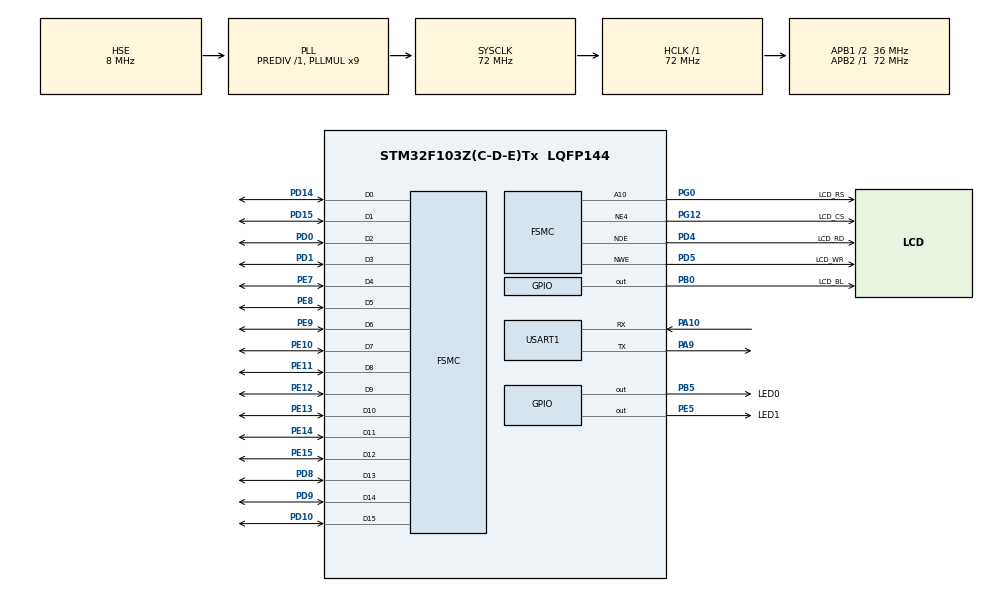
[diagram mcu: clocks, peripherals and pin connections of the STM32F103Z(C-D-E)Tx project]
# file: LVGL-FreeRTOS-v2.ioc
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FREERTOS.Tasks01=defaultTask,24,128,StartDefaultTask,Default,NULL,Dynamic,NULL,NULL
FSMC.AddressSetupTime1=0x1
FSMC.BusTurnAroundDuration1=0
FSMC.DataSetupTime1=0x1
FSMC.ExtendedAddressSetupTime1=0x00
FSMC.ExtendedBusTurnAroundDuration1=0
FSMC.ExtendedDataSetupTime1=0x3
FSMC.ExtendedMode1=FSMC_EXTENDED_MODE_ENABLE
Mcu.Family=STM32F1
Mcu.Name=STM32F103Z(C-D-E)Tx
Mcu.Package=LQFP144
NVIC.PriorityGroup=NVIC_PRIORITYGROUP_4
NVIC.TIM4_IRQn=true\:15\:0\:false\:false\:true\:false\:false\:true\:true
NVIC.TimeBase=TIM4_IRQn
NVIC.TimeBaseIP=TIM4
NVIC.USART1_IRQn=true\:5\:0\:false\:false\:true\:true\:true\:true\:true
OSC_IN.Mode=HSE-External-Oscillator
OSC_IN.Signal=RCC_OSC_IN
OSC_OUT.Mode=HSE-External-Oscillator
OSC_OUT.Signal=RCC_OSC_OUT
PA10.Mode=Asynchronous
PA10.Signal=USART1_RX
PA13.Mode=Serial_Wire
PA13.Signal=SYS_JTMS-SWDIO
PA14.Mode=Serial_Wire
PA14.Signal=SYS_JTCK-SWCLK
PA9.Mode=Asynchronous
PA9.Signal=USART1_TX
PB0.GPIO_Label=LCD_BL
PB0.GPIO_ModeDefaultOutputPP=GPIO_MODE_OUTPUT_PP
PB0.GPIO_PuPd=GPIO_PULLUP
PB0.GPIO_Speed=GPIO_SPEED_FREQ_HIGH
PB0.PinState=GPIO_PIN_SET
PB0.Signal=GPIO_Output
PB5.GPIO_Label=LED0
PB5.GPIO_ModeDefaultOutputPP=GPIO_MODE_OUTPUT_PP
PB5.GPIO_PuPd=GPIO_PULLUP
PB5.GPIO_Speed=GPIO_SPEED_FREQ_HIGH
PB5.PinState=GPIO_PIN_RESET
PB5.Signal=GPIO_Output
PD0.Signal=FSMC_D2_DA2
PD1.Signal=FSMC_D3_DA3
PD10.Signal=FSMC_D15_DA15
PD14.Signal=FSMC_D0_DA0
PD15.Signal=FSMC_D1_DA1
PD4.GPIO_Label=LCD_RD
PD4.Signal=FSMC_NOE
PD5.GPIO_Label=LCD_WR
PD5.Signal=FSMC_NWE
PD8.Signal=FSMC_D13_DA13
PD9.Signal=FSMC_D14_DA14
PE10.Signal=FSMC_D7_DA7
PE11.Signal=FSMC_D8_DA8
PE12.Signal=FSMC_D9_DA9
PE13.Signal=FSMC_D10_DA10
PE14.Signal=FSMC_D11_DA11
PE15.Signal=FSMC_D12_DA12
PE5.GPIO_Label=LED1
PE5.GPIO_ModeDefaultOutputPP=GPIO_MODE_OUTPUT_PP
PE5.GPIO_PuPd=GPIO_PULLUP
PE5.GPIO_Speed=GPIO_SPEED_FREQ_HIGH
PE5.PinState=GPIO_PIN_RESET
PE5.Signal=GPIO_Output
PE7.Signal=FSMC_D4_DA4
PE8.Signal=FSMC_D5_DA5
PE9.Signal=FSMC_D6_DA6
PG0.GPIO_Label=LCD_RS
PG0.Signal=FSMC_A10
PG12.GPIO_Label=LCD_CS
PG12.Mode=NorPsramChipSelect4_1
PG12.Signal=FSMC_NE4
ProjectManager.HeapSize=0x200
ProjectManager.StackSize=0x400
ProjectManager.TargetToolchain=MDK-ARM V5.32
RCC.AHBFreq_Value=72000000
RCC.APB1CLKDivider=RCC_HCLK_DIV2
RCC.APB1Freq_Value=36000000
RCC.APB1TimFreq_Value=72000000
RCC.APB2Freq_Value=72000000
RCC.APB2TimFreq_Value=72000000
RCC.HCLKFreq_Value=72000000
RCC.PLLMUL=RCC_PLL_MUL9
RCC.PLLSourceVirtual=RCC_PLLSOURCE_HSE
RCC.SYSCLKFreq_VALUE=72000000
RCC.SYSCLKSource=RCC_SYSCLKSOURCE_PLLCLK
RCC.USBFreq_Value=72000000
SH.FSMC_A10.0=FSMC_A10,A10_1
SH.FSMC_D0_DA0.0=FSMC_D0,16b-d1
SH.FSMC_D10_DA10.0=FSMC_D10,16b-d1
SH.FSMC_D11_DA11.0=FSMC_D11,16b-d1
SH.FSMC_D12_DA12.0=FSMC_D12,16b-d1
SH.FSMC_D13_DA13.0=FSMC_D13,16b-d1
SH.FSMC_D14_DA14.0=FSMC_D14,16b-d1
SH.FSMC_D15_DA15.0=FSMC_D15,16b-d1
SH.FSMC_D1_DA1.0=FSMC_D1,16b-d1
SH.FSMC_D2_DA2.0=FSMC_D2,16b-d1
SH.FSMC_D3_DA3.0=FSMC_D3,16b-d1
SH.FSMC_D4_DA4.0=FSMC_D4,16b-d1
SH.FSMC_D5_DA5.0=FSMC_D5,16b-d1
SH.FSMC_D6_DA6.0=FSMC_D6,16b-d1
SH.FSMC_D7_DA7.0=FSMC_D7,16b-d1
SH.FSMC_D8_DA8.0=FSMC_D8,16b-d1
SH.FSMC_D9_DA9.0=FSMC_D9,16b-d1
SH.FSMC_NOE.0=FSMC_NOE,Lcd1
SH.FSMC_NWE.0=FSMC_NWE,Lcd1
USART1.VirtualMode=VM_ASYNC
VP_FREERTOS_VS_CMSIS_V2.Mode=CMSIS_V2
VP_SYS_VS_tim4.Mode=TIM4
board=custom

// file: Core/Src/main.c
/* USER CODE BEGIN Header */
/**
  ******************************************************************************
  * @file           : main.c
  * @brief          : Main program body
  ******************************************************************************
  * @attention
  *
  * Copyright (c) 2025 STMicroelectronics.
  * All rights reserved.
  *
  * This software is licensed under terms that can be found in the LICENSE file
  * in the root directory of this software component.
  * If no LICENSE file comes with this software, it is provided AS-IS.
  *
  ******************************************************************************
  */
/* USER CODE END Header */
#include "main.h"
#include "cmsis_os.h"
#include "usart.h"
#include "gpio.h"
#include "fsmc.h"

/* USER CODE BEGIN Includes */
#include "delay.h"
#include "lcd.h"
#include "key.h"
#include "touch.h"

/* USER CODE END Includes */

void SystemClock_Config(void);
void MX_FREERTOS_Init(void);
/* USER CODE BEGIN PFP */
void LED0_Task(void);
void LED1_Task(void);
void LCD_Task(void);
void LVGL_Task(void);
void btn_event_handler(lv_event_t * e);
/* USER CODE END PFP */

int main(void)
{

  /* MCU Configuration--------------------------------------------------------*/

  /* Reset of all peripherals, Initializes the Flash interface and the Systick. */
  HAL_Init();

  /* Configure the system clock */
  SystemClock_Config();

  /* USER CODE BEGIN SysInit */
  delay_init(72);
  /* USER CODE END SysInit */

  /* Initialize all configured peripherals */
  MX_GPIO_Init();
  MX_FSMC_Init();
  MX_USART1_UART_Init();
  /* USER CODE BEGIN 2 */
  key_init();
  lv_init(); // 初始化LVGL库
  lv_port_disp_init();
  lv_port_indev_init();

  xTaskCreate((TaskFunction_t)LVGL_Task, "LVGL_Task", 512, NULL, osPriorityNormal, NULL);
  xTaskCreate((TaskFunction_t)LED1_Task, "LED1_Task", 128, NULL, osPriorityNormal, NULL);
  /* USER CODE END 2 */

  /* Init scheduler */
  osKernelInitialize();

  /* Call init function for freertos objects (in cmsis_os2.c) */
  MX_FREERTOS_Init();

  /* Start scheduler */
  osKernelStart();

  /* We should never get here as control is now taken by the scheduler */

  /* Infinite loop */
  while (1)
  {

  }
}

void SystemClock_Config(void)
{
  RCC_OscInitTypeDef RCC_OscInitStruct = {0};
  RCC_ClkInitTypeDef RCC_ClkInitStruct = {0};

  /** Initializes the RCC Oscillators according to the specified parameters
  * in the RCC_OscInitTypeDef structure.
  */
  RCC_OscInitStruct.OscillatorType = RCC_OSCILLATORTYPE_HSE;
  RCC_OscInitStruct.HSEState = RCC_HSE_ON;
  RCC_OscInitStruct.HSEPredivValue = RCC_HSE_PREDIV_DIV1;
  RCC_OscInitStruct.HSIState = RCC_HSI_ON;
  RCC_OscInitStruct.PLL.PLLState = RCC_PLL_ON;
  RCC_OscInitStruct.PLL.PLLSource = RCC_PLLSOURCE_HSE;
  RCC_OscInitStruct.PLL.PLLMUL = RCC_PLL_MUL9;
  if (HAL_RCC_OscConfig(&RCC_OscInitStruct) != HAL_OK)
  {
    Error_Handler();
  }

  /** Initializes the CPU, AHB and APB buses clocks
  */
  RCC_ClkInitStruct.ClockType = RCC_CLOCKTYPE_HCLK|RCC_CLOCKTYPE_SYSCLK
                              |RCC_CLOCKTYPE_PCLK1|RCC_CLOCKTYPE_PCLK2;
  RCC_ClkInitStruct.SYSCLKSource = RCC_SYSCLKSOURCE_PLLCLK;
  RCC_ClkInitStruct.AHBCLKDivider = RCC_SYSCLK_DIV1;
  RCC_ClkInitStruct.APB1CLKDivider = RCC_HCLK_DIV2;
  RCC_ClkInitStruct.APB2CLKDivider = RCC_HCLK_DIV1;

  if (HAL_RCC_ClockConfig(&RCC_ClkInitStruct, FLASH_LATENCY_2) != HAL_OK)
  {
    Error_Handler();
  }
}

/* USER CODE BEGIN 4 */
void LED0_Task(void)
{
    while (1)
    {
        /* code */
        HAL_GPIO_TogglePin(LED0_GPIO_Port, LED0_Pin);
        vTaskDelay(300);
    }
}

void LED1_Task(void)
{
    while (1)
    {
        /* code */
        HAL_GPIO_TogglePin(LED1_GPIO_Port, LED1_Pin);
        vTaskDelay(300);
    }
}

void LCD_Task(void)
{
  while (1)
  {
    /* code */
    lcd_show_string(0, 0, 100, 100, 16,"LCD_TEST", BLUE);
    delay_ms(500);
    lcd_clear(WHITE);
    vTaskDelay(500);
  }

}

void btn_event_handler(lv_event_t * e)
{
  lv_event_code_t code = lv_event_get_code(e);
  if(code == LV_EVENT_CLICKED)
  {
    // 反转 LED0 状态
    HAL_GPIO_TogglePin(LED0_GPIO_Port, LED0_Pin);
  }
}

void LVGL_Task(void)
{
   // 创建按钮
  lv_obj_t* btn = lv_btn_create(lv_scr_act());
  lv_obj_align(btn, LV_ALIGN_CENTER, 0, 0);

  lv_obj_t* label = lv_label_create(btn);
  lv_label_set_text(label, "Toggle LED");

  lv_obj_add_event_cb(btn, btn_event_handler, LV_EVENT_ALL, NULL);

  while (1)
  {
    lv_task_handler();
    vTaskDelay(pdMS_TO_TICKS(50)); // 避免 CPU 占满
  }
}
/* USER CODE END 4 */

void HAL_TIM_PeriodElapsedCallback(TIM_HandleTypeDef *htim)
{
  if (htim->Instance == TIM4)
  {
    HAL_IncTick();
  }
}

void Error_Handler(void)
{
  __disable_irq();
  while (1)
  {
  }
}
